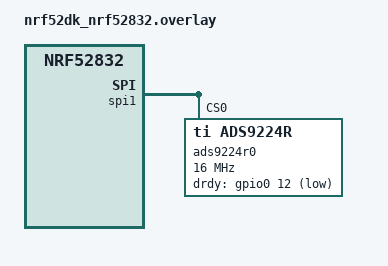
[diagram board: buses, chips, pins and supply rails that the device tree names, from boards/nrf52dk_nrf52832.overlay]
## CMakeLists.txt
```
# SPDX-License-Identifier: Apache-2.0

cmake_minimum_required(VERSION 3.20.0)
find_package(Zephyr REQUIRED HINTS $ENV{ZEPHYR_BASE})
project(ads9224r_sample)

target_sources(app PRIVATE src/main.c)
```

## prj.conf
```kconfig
# General config
CONFIG_STDOUT_CONSOLE=y
CONFIG_PRINTK=y

# Enable ADC
CONFIG_ADC=y
CONFIG_ADC_ADS9224R=y

# Enable GPIO for DRDY pin
CONFIG_GPIO=y

# SPI is needed for communication with ADS9224R
CONFIG_SPI=y
```

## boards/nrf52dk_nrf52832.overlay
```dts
/*
 * Copyright (c) 2025 Custom Company
 *
 * SPDX-License-Identifier: Apache-2.0
 */

/ {
	aliases {
		adc-ads9224r = &ads9224r0;
	};
};

&spi1 {
	status = "okay";

	ads9224r0: ads9224r@0 {
		compatible = "ti,ads9224r";
		reg = <0>;
		spi-max-frequency = <16000000>;
		channels = <4>;
		drdy-gpios = <&gpio0 12 GPIO_ACTIVE_LOW>;
		#io-channel-cells = <1>;
	};
};
```

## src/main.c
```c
/*
 * Copyright (c) 2025 Custom Company
 *
 * SPDX-License-Identifier: Apache-2.0
 */

/**
 * @file
 * @brief Sample for ADS9224R ADC driver
 */

#include <zephyr/kernel.h>
#include <zephyr/device.h>
#include <zephyr/drivers/adc.h>
#include <zephyr/drivers/adc/ads9224r.h>
#include <zephyr/sys/printk.h>
#include <zephyr/sys/util.h>

#define ADC_NODE DT_ALIAS(adc_ads9224r)

#if !DT_NODE_EXISTS(ADC_NODE)
#error "ADC device not found in device tree"
#endif

/* Number of samples to take for each channel */
#define SAMPLE_COUNT 10

/* Maximum value for 16-bit ADC (2^16 - 1) */
#define ADC_MAX_VALUE 65535

/* Buffer to store ADC samples */
static uint32_t sample_buffer[SAMPLE_COUNT];

/* ADC channels configuration */
static const struct adc_channel_cfg channel_cfg = {
    .gain = ADC_GAIN_1,
    .reference = ADC_REF_INTERNAL,
    .acquisition_time = ADC_ACQ_TIME_DEFAULT,
    .channel_id = 0,
};

/* ADC sequence configuration */
static const struct adc_sequence sequence = {
    .channels = BIT(0),
    .buffer = sample_buffer,
    .buffer_size = sizeof(sample_buffer),
    .resolution = 16,
    .oversampling = 0,
    .calibrate = false,
};

void main(void)
{
    const struct device *const dev = DEVICE_DT_GET(ADC_NODE);
    int ret;
    int32_t value_mv;

    if (!device_is_ready(dev)) {
        printk("ADS9224R device not ready\n");
        return;
    }

    printk("ADS9224R ADC example started\n");

    /* Configure ADC channel */
    ret = adc_channel_setup(dev, &channel_cfg);
    if (ret != 0) {
        printk("Failed to configure ADC channel (err %d)\n", ret);
        return;
    }

    /* Set data rate for ADC conversions */
    ret = ads9224r_set_data_rate(dev, ADS9224R_DATA_RATE_1000_SPS);
    if (ret != 0) {
        printk("Failed to set data rate (err %d)\n", ret);
        return;
    }

    /* Set operational mode for the ADC */
    ret = ads9224r_set_mode(dev, ADS9224R_MODE_CONTINUOUS);
    if (ret != 0) {
        printk("Failed to set operational mode (err %d)\n", ret);
        return;
    }

    printk("Starting ADC sampling...\n");

    while (1) {
        /* Read ADC samples */
        ret = adc_read(dev, &sequence);
        if (ret != 0) {
            printk("Failed to read ADC samples (err %d)\n", ret);
            continue;
        }

        /* Process samples */
        for (int i = 0; i < SAMPLE_COUNT; i++) {
            /* Convert ADC value to millivolts */
            ret = adc_raw_to_millivolts(adc_ref_internal(dev),
                                      channel_cfg.gain,
                                      sequence.resolution,
                                      &sample_buffer[i],
                                      &value_mv);
            if (ret != 0) {
                printk("Failed to convert ADC value to millivolts (err %d)\n", ret);
                continue;
            }

            printk("Sample %d: raw=%u, %d mV\n", i, sample_buffer[i], value_mv);
        }

        /* Wait before taking the next set of samples */
        k_sleep(K_SECONDS(5));
    }
}
```
